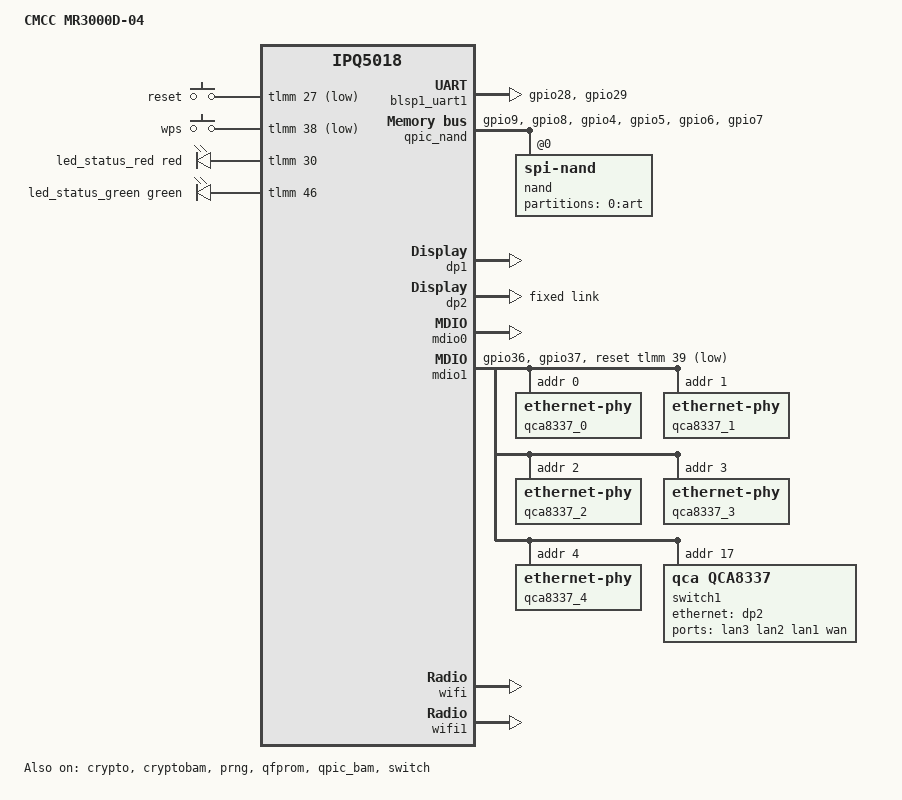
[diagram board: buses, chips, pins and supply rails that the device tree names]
// SPDX-License-Identifier: GPL-2.0-or-later OR MIT

/dts-v1/;

#include "ipq5018-512m.dtsi"
#include "ipq5018-ess.dtsi"
#include "ipq5018-nss.dtsi"
#include "ipq5018-qcn6122.dtsi"

#include <dt-bindings/gpio/gpio.h>
#include <dt-bindings/input/input.h>
#include <dt-bindings/leds/common.h>

/ {
	model = "CMCC MR3000D-04";
	compatible = "cmcc,mr3000d-04", "qcom,ipq5018";

	aliases {
		label-mac-device = <&dp1>;

		led-boot = &led_status_red;
		led-failsafe = &led_status_green;
		led-running = &led_status_green;
		led-upgrade = &led_status_green;

		serial0 = &blsp1_uart1;
	};

	chosen {
		bootargs-append = " root=/dev/ubiblock0_1 swiotlb=1 coherent_pool=2M";
		stdout-path = "serial0:115200n8";
	};

	reserved-memory {

		q6_mem_regions: q6_mem_regions@4b000000 {
			no-map;									  
			reg = <0x0 0x4b000000 0x0 0x5400000>;      	  
		};
	};

	keys {
		compatible = "gpio-keys";
		pinctrl-0 = <&button_pins>;
		pinctrl-names = "default";

		button-0 {
			label = "reset";
			gpios = <&tlmm 27 GPIO_ACTIVE_LOW>;
			linux,code = <KEY_RESTART>;
		};

		button-1 {
			label = "wps";
			gpios = <&tlmm 38 GPIO_ACTIVE_LOW>;
			linux,code = <KEY_WPS_BUTTON>;
		};
	};

	leds {
		compatible = "gpio-leds";
		pinctrl-0 = <&led_pins>;
		pinctrl-names = "default";

		led_status_red: led-0 {
			gpios = <&tlmm 30 GPIO_ACTIVE_HIGH>;
			color = <LED_COLOR_ID_RED>;
			function = LED_FUNCTION_STATUS;
		};

		led_status_green: led-1 {
			gpios = <&tlmm 46 GPIO_ACTIVE_HIGH>;
			color = <LED_COLOR_ID_GREEN>;
			function = LED_FUNCTION_STATUS;
		};
	};
};

&sleep_clk {
	clock-frequency = <32000>;
};

&xo_board_clk {
	clock-div = <4>;
	clock-mult = <1>;
};

&blsp1_uart1 {
	status = "okay";

	pinctrl-0 = <&serial_0_pins>;
	pinctrl-names = "default";
};

&crypto {
	status = "okay";
};

&cryptobam {
	status = "okay";
};

&prng {
	status = "okay";
};

&qfprom {
	status = "okay";
};

&qpic_bam {
	status = "okay";
};

&qpic_nand {
	pinctrl-0 = <&qpic_pins>;
	pinctrl-names = "default";
	status = "okay";

	// GigaDevice GD5F1GQ5REYIG
	nand@0 {
		compatible = "spi-nand";
		reg = <0>;

		nand-ecc-engine = <&qpic_nand>;
		nand-ecc-step-size = <512>;
		nand-ecc-strength = <8>;
		nand-bus-width = <8>;

		partitions {
			compatible = "qcom,smem-part";

			partition-art {
				label = "0:art";
				read-only;

				nvmem-layout {
					compatible = "fixed-layout";
					#address-cells = <1>;
					#size-cells = <1>;

					// WAN MAC address
					macaddr_art_0: mac-address@0 {
						compatible = "mac-base";
						reg = <0x0 0x6>;
						#nvmem-cell-cells = <1>;
					};

					// LAN MAC address
					macaddr_art_6: mac-address@6 {
						compatible = "mac-base";
						reg = <0x6 0x6>;
						#nvmem-cell-cells = <1>;
					};

					// WLAN 2.4 GHz MAC address
					macaddr_art_c: mac-address@c {
						compatible = "mac-base";
						reg = <0xc 0x6>;
						#nvmem-cell-cells = <1>;
					};

					// WLAN 5 GHz MAC address
					macaddr_art_12: mac-address@12 {
						compatible = "mac-base";
						reg = <0x12 0x6>;
						#nvmem-cell-cells = <1>;
					};
				};
			};
		};
	};
};

/*
 * ===============================================================
 *     _______________________         _______________________
 *    |        IPQ5018        |       |        QCA8337        |
 *    | +------+   +--------+ |       | +--------+   +------+ |
 *    | | MAC0 |---| GE Phy | |       | |  Phy0  |---| MAC1 | |
 *    | +------+   +--------+ |       | +--------+   +------+ |
 *    | +------+   +--------+ |       | +--------+   +------+ |
 *    | | MAC1 |---| Uniphy |-+-SGMII-+-| SerDes |---| MAC6 | |
 *    | +------+   +--------+ |       | +--------+   +------+ |
 *    |_______________________|       |_______________________|
 *
 * ===============================================================
 */

&switch {
	status = "okay";

	switch_mac_mode = <MAC_MODE_SGMII_CHANNEL0>;

	qcom,port_phyinfo {
		// MAC0 -> GE Phy -> QCA8337 Phy4
		port@1 {
			port_id = <1>;
			mdiobus = <&mdio0>;
			phy_address = <7>;
		};

		// MAC1 ---SGMII---> QCA8337 SerDes
		port@2 {
			port_id = <2>;
			mdiobus = <&mdio1>;
			forced-speed = <1000>;
			forced-duplex = <1>;
		};
	};
};

// MAC0 -> GE Phy
&dp1 {
	status = "okay";

	nvmem-cell-names = "mac-address";
	nvmem-cells = <&macaddr_art_0 (0)>;
};

// MAC1 -> SGMII
&dp2 {
	status = "okay";

	nvmem-cell-names = "mac-address";
	nvmem-cells = <&macaddr_art_6 (0)>;

	fixed-link {
		speed = <1000>;
		full-duplex;
	};
};

&mdio0 {
	status = "okay";
};

// MAC0 -> GE Phy -> QCA8337 Phy4
&ge_phy {
	qcom,dac-preset-short-cable;
};

&mdio1 {
	status = "okay";

	pinctrl-0 = <&mdio1_pins>;
	pinctrl-names = "default";
	reset-gpios = <&tlmm 39 GPIO_ACTIVE_LOW>;

	// QCA8337 Phy0 -> LAN3
	qca8337_0: ethernet-phy@0 {
		reg = <0>;
	};

	// QCA8337 Phy1 -> LAN2
	qca8337_1: ethernet-phy@1 {
		reg = <1>;
	};

	// QCA8337 Phy2 -> LAN1
	qca8337_2: ethernet-phy@2 {
		reg = <2>;
	};

	// QCA8337 Phy3 -> WAN
 	qca8337_3: ethernet-phy@3 {
		reg = <3>;
	};

	// QCA8337 Phy4 -> IPQ5018 GE Phy
	qca8337_4: ethernet-phy@4 {
		reg = <4>;
	};

	// QCA8337 switch
	switch1: ethernet-switch@17 {
		compatible = "qca,qca8337";
		reg = <17>;
		#address-cells = <1>;
		#size-cells = <0>;

		ports {
			#address-cells = <1>;
			#size-cells = <0>;

			port@1 {
				reg = <1>;
				label = "lan3";
				phy-handle = <&qca8337_0>;
			};

			port@2 {
				reg = <2>;
				label = "lan2";
				phy-handle = <&qca8337_1>;
			};

			port@3 {
				reg = <3>;
				label = "lan1";
				phy-handle = <&qca8337_2>;
			};

			port@4 {
				reg = <4>;
				label = "wan";
				phy-handle = <&qca8337_3>;

				nvmem-cells = <&macaddr_art_0 (0)>;
				nvmem-cell-names = "mac-address";
			};

			port@6 {
				reg = <6>;
				phy-mode = "sgmii";
				ethernet = <&dp2>;
				qca,sgmii-enable-pll;

				fixed-link {
					speed = <1000>;
					full-duplex;
				};
			};
		};
	};
};

&tlmm {
	button_pins: button-state {
		button-pins {
			pins = "gpio27", "gpio38";
			function = "gpio";
			drive-strength = <8>;
			bias-pull-up;
		};

	};

	led_pins: led-state {
		pins = "gpio30", "gpio46";
		function = "gpio";
		drive-strength = <8>;
		bias-pull-down;
	};

	mdio1_pins: mdio-state {
		mdc-pins {
			pins = "gpio36";
			function = "mdc";
			drive-strength = <8>;
			bias-pull-up;
		};

		mdio-pins {
			pins = "gpio37";
			function = "mdio";
			drive-strength = <8>;
			bias-pull-up;
		};
	};

	qpic_pins: qpic-state {
		clock-pins {
			pins = "gpio9";
			function = "qspi_clk";
			drive-strength = <8>;
			bias-disable;
		};

		cs-pins {
			pins = "gpio8";
			function = "qspi_cs";
			drive-strength = <8>;
			bias-disable;
		};

		data-pins {
			pins = "gpio4", "gpio5", "gpio6", "gpio7";
			function = "qspi_data";
			drive-strength = <8>;
			bias-disable;
		};
	};

	serial_0_pins: uart0-state {
		pins = "gpio28", "gpio29";
		function = "blsp0_uart1";
		drive-strength = <8>;
		bias-disable;
	};

	switch_reset_pins: switch-reset-state {
		pins = "gpio39";
		function = "gpio";
		drive-strength = <8>;
		bias-pull-down;
	};
};



&q6v5_wcss {
	memory-region = <&q6_region>;

	firmware-name = "ath11k/IPQ5018/hw1.0/q6_fw.mdt",
			"ath11k/IPQ5018/hw1.0/m3_fw.mdt",
			"ath11k/QCN6122/hw1.0/m3_fw.mdt";

	qcom,bootargs_smem = <507>;
	/* The QCN6102 radio should map to UPD ID 2. Without       */
	/* bootargs, the firmware will expect it to be on UPD ID 3 */
	boot-args = <
		/*       type:	*/	0x2	/* PCIE0	*/
		/*     length:	*/	4
		/*     UPD ID:	*/	2
		/* reset GPIO:	*/	15
		/*   reserved:	*/	0 0>;
};

	status = "okay";

	// IPQ5018
	q6_wcss_pd1: pd-1 {
		resets =
			<&gcc GCC_WCSSAON_RESET>,
			<&gcc GCC_WCSS_BCR>,
			<&gcc GCC_CE_BCR>;
		reset-names =
			"wcss_aon_reset",
			"wcss_reset",
			"ce_reset";

		clocks =
			<&gcc GCC_WCSS_AHB_S_CLK>,
			<&gcc GCC_WCSS_ACMT_CLK>,
			<&gcc GCC_WCSS_AXI_M_CLK>;
		clock-names =
			"gcc_wcss_ahb_s_clk",
					"gcc_wcss_acmt_clk",
					"gcc_wcss_axi_m_clk";

		reg = <0x4ab000 0x20>;
		reg-names = "rmb";

		// qcom,halt-regs = <&tcsr_q6_block 0xa000 0xd000 0x0>;

		interrupts-extended =
			<&wcss_smp2p_in 8 0>,
			<&wcss_smp2p_in 9 0>,
			<&wcss_smp2p_in 12 0>,
			<&wcss_smp2p_in 11 0>;
		interrupt-names =
			"fatal",
			"ready",
			"spawn-ack",
			"stop-ack";

		qcom,smem-states =
			<&wcss_smp2p_out 8>,
			<&wcss_smp2p_out 9>,
			<&wcss_smp2p_out 10>;
		qcom,smem-state-names =
			"shutdown",
			"stop",
			"spawn";

		firmware-name = "ath11k/IPQ5018/hw1.0/q6_fw.mdt";
		// m3_firmware = "ath11k/IPQ5018/hw1.0/m3_fw.mdt";
	};

	// QCN6102
	q6_wcss_pd2: pd-2 {
		interrupts-extended =
			<&wcss_smp2p_in 16 0>,
			<&wcss_smp2p_in 17 0>,
			<&wcss_smp2p_in 20 0>,
			<&wcss_smp2p_in 19 0>;
		interrupt-names =
			"fatal",
			"ready",
			"spawn-ack",
			"stop-ack";

		qcom,smem-states =
			<&wcss_smp2p_out 16>,
			<&wcss_smp2p_out 17>,
			<&wcss_smp2p_out 18>;
		qcom,smem-state-names =
			"shutdown",
			"stop",
			"spawn";

		firmware-name = "ath11k/IPQ5018/hw1.0/q6_fw.mdt";
		// m3_firmware = "ath11k/QCN6122/hw1.0/m3_fw.mdt";
	};
};

&wifi {
	// IPQ5000
	qcom,rproc = <&q6_wcss_pd1>;

	// Be overridden by /etc/hotplug.d/firmware/10-ath11k-board_id
	// M79: 0x10
	// M81: 0x24
	qcom,board_id = <0x24>;

	// qcom,ath11k-fw-memory-mode = <0>;
	// qcom,bdf-addr = <0x4c400000>;
	// qcom,caldb-addr = <0x4d200000>;
	// qcom,m3-dump-addr = <0x4d400000>;

	qcom,ath11k-calibration-variant = "CMCC-MR3000D-04";
	qcom,ath11k-fw-memory-mode = <1>;
	qcom,bdf-addr = <0x4c400000>;

	status = "okay";
};

&wifi1 {
	// QCN6102
	qcom,rproc = <&q6_wcss_pd2>;
	qcom,userpd-subsys-name = "q6v5_wcss_userpd2";

	qcom,board_id = <0x60>;

	// qcom,ath11k-fw-memory-mode = <0>;
	// qcom,bdf-addr = <0x4d500000>;
	// qcom,caldb-addr = <0x4e500000>;
	// qcom,m3-dump-addr = <0x4ea00000>;

	qcom,ath11k-calibration-variant = "CMCC-MR3000D-04";
	qcom,ath11k-fw-memory-mode = <1>;
	qcom,bdf-addr = <0x4ed00000>;
	qcom,m3-dump-addr = <0x4df00000>;

	status = "okay";
};
